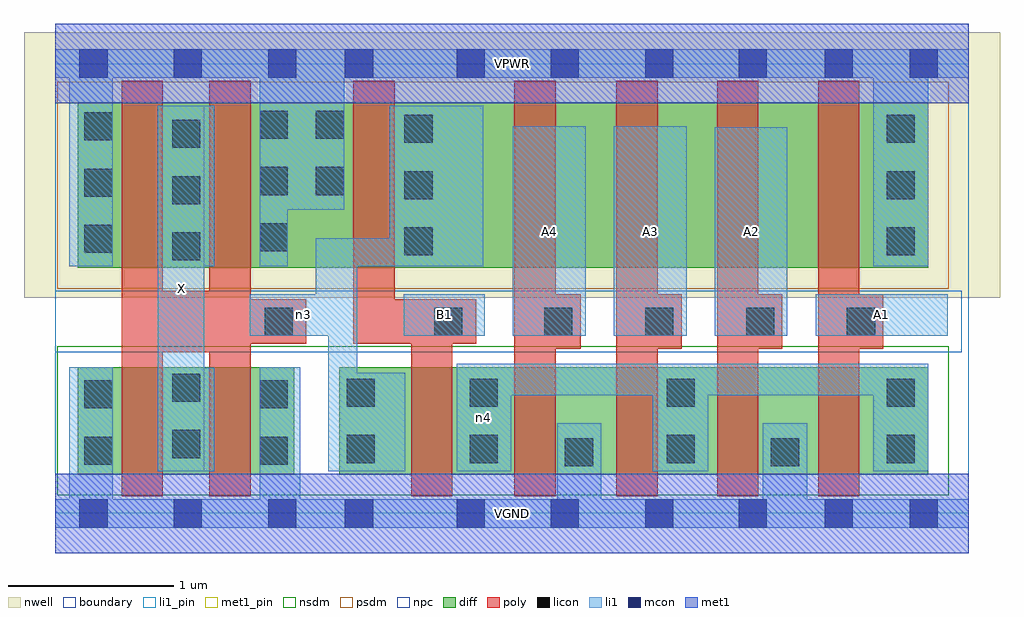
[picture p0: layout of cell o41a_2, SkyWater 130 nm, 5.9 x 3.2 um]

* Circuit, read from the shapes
.subckt o41a_2 A1 A2 A3 A4 B1 VGND VPWR X n3 n4
XM1 X n3 VGND VSUBS sky130_fd_pr__nfet_01v8 w=0.65 l=0.25 m=2
XM2 n4 B1 n3 VSUBS sky130_fd_pr__nfet_01v8 w=0.65 l=0.25
XM3 VGND A4 n4 VSUBS sky130_fd_pr__nfet_01v8 w=0.65 l=0.25
XM4 n4 A3 VGND VSUBS sky130_fd_pr__nfet_01v8 w=0.65 l=0.25
XM5 VGND A2 n4 VSUBS sky130_fd_pr__nfet_01v8 w=0.65 l=0.25
XM6 n4 A1 VGND VSUBS sky130_fd_pr__nfet_01v8 w=0.65 l=0.25
XM7 X n3 VPWR n1 sky130_fd_pr__pfet_01v8 w=1 l=0.25 m=2
XM8 n3 B1 VPWR n1 sky130_fd_pr__pfet_01v8 w=1 l=0.25
XM9 n2 A4 n3 n1 sky130_fd_pr__pfet_01v8 w=1 l=0.25
XM10 n5 A3 n2 n1 sky130_fd_pr__pfet_01v8 w=1 l=0.25
XM11 n6 A2 n5 n1 sky130_fd_pr__pfet_01v8 w=1 l=0.25
XM12 VPWR A1 n6 n1 sky130_fd_pr__pfet_01v8 w=1 l=0.25
.ends

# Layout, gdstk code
import gdstk
lib = gdstk.Library(unit=1e-6, precision=1e-09)
def R(c, l, rs):  # rectangles x0, y0, x1, y1
    for r in rs: c.add(gdstk.rectangle(r[:2], r[2:], *l))
def A(c, l, x, y, w, h, nx, ny, dx, dy):  # array of equal rectangles
    R(c, l, [(x+i*dx, y+j*dy, x+i*dx+w, y+j*dy+h) for i in range(nx) for j in range(ny)])
nwell = (64, 20)
diff = (65, 20)
poly = (66, 20)
licon = (66, 44)
li1_pin = (67, 16)
li1 = (67, 20)
mcon = (67, 44)
met1_pin = (68, 16)
met1 = (68, 20)
nsdm = (93, 44)
psdm = (94, 20)
npc = (95, 20)
boundary = (235, 4)

o41a_2 = lib.new_cell('o41a_2')
R(o41a_2, nwell, [(-0.19,1.305,5.71,2.91), (0,1.305,5.52,2.91)])
R(o41a_2, diff, [(0.135,0.235,1.445,0.885), (1.715,0.235,5.275,0.885), (0.135,1.485,5.275,2.485)])
A(o41a_2, poly, 3.39, 0.105, 0.25, 2.51, 3, 1, 0.61, 0)
A(o41a_2, poly, 3.39, 0.995, 0.395, 0.33, 3, 1, 0.61, 0)
R(o41a_2, poly, [(0.4,0.105,0.65,2.615), (0.93,0.105,1.18,2.615), (2.15,0.105,2.4,1.295), (2.775,0.105,3.025,2.615), (0.4,0.975,1.18,1.345), (2.775,0.995,3.175,1.325), (0.4,1.025,1.515,1.295), (1.8,1.025,2.05,2.615), (1.8,1.025,2.545,1.295)])
A(o41a_2, licon, 2.955, 1.075, 0.17, 0.17, 4, 1, 0.61, 0)
A(o41a_2, licon, 0.705, 1.53, 0.17, 0.17, 1, 3, 0, 0.34)
A(o41a_2, licon, 2.11, 1.56, 0.17, 0.17, 1, 3, 0, 0.34)
A(o41a_2, licon, 5.025, 1.56, 0.17, 0.17, 1, 3, 0, 0.34)
A(o41a_2, licon, 0.175, 1.575, 0.17, 0.17, 1, 3, 0, 0.34)
A(o41a_2, licon, 1.235, 1.585, 0.17, 0.17, 1, 3, 0, 0.34)
R(o41a_2, licon, [(3.08,0.285,3.25,0.455), (4.325,0.285,4.495,0.455), (0.175,0.295,0.345,0.465), (1.235,0.295,1.405,0.465), (1.76,0.305,1.93,0.475), (2.505,0.305,2.675,0.475), (3.695,0.305,3.865,0.475), (5.025,0.305,5.195,0.475), (0.705,0.335,0.875,0.505), (0.175,0.635,0.345,0.805), (1.235,0.635,1.405,0.805), (1.76,0.645,1.93,0.815), (2.505,0.645,2.675,0.815), (3.695,0.645,3.865,0.815), (5.025,0.645,5.195,0.815), (0.705,0.675,0.875,0.845), (1.265,1.075,1.435,1.245), (2.29,1.075,2.46,1.245), (1.575,1.925,1.745,2.095), (1.575,2.265,1.745,2.435)])
R(o41a_2, li1_pin, [(0.62,0.255,0.9,2.465), (2.105,1.075,2.595,1.325), (2.765,1.075,3.205,2.34), (3.375,1.075,3.815,2.34), (3.985,1.075,4.425,2.335), (4.595,1.075,5.395,1.325)])
R(o41a_2, li1, [(0,-0.085,5.52,0.085), (0.085,-0.085,0.345,0.885), (1.235,-0.085,1.48,0.885), (3.035,-0.085,3.3,0.545), (4.275,-0.085,4.545,0.545), (0.62,0.255,0.9,2.465), (0.62,0.255,0.96,0.88), (1.65,0.255,1.825,1.665), (1.65,0.255,2.115,0.85), (2.425,0.255,2.755,0.905), (3.61,0.255,3.945,0.905), (4.945,0.255,5.275,0.905), (2.425,0.715,5.275,0.905), (1.175,1.075,1.825,1.325), (1.575,1.075,1.825,1.665), (2.105,1.075,2.595,1.325), (2.765,1.075,3.205,2.34), (3.375,1.075,3.815,2.34), (3.985,1.075,4.425,2.335), (4.595,1.075,5.395,1.325), (0.085,1.495,0.345,2.805), (0.62,1.495,0.96,2.465), (1.235,1.495,1.405,2.805), (1.575,1.495,2.585,1.665), (2.02,1.495,2.585,2.465), (4.945,1.495,5.275,2.805), (1.235,1.835,1.745,2.805), (0,2.635,5.52,2.805)])
A(o41a_2, mcon, 0.145, -0.085, 0.17, 0.17, 3, 2, 0.57, 2.72)
A(o41a_2, mcon, 2.425, -0.085, 0.17, 0.17, 3, 2, 0.57, 2.72)
R(o41a_2, mcon, [(1.75,-0.085,1.92,0.085), (4.13,-0.085,4.3,0.085), (4.65,-0.085,4.82,0.085), (5.165,-0.085,5.335,0.085), (1.75,2.635,1.92,2.805), (4.13,2.635,4.3,2.805), (4.65,2.635,4.82,2.805), (5.165,2.635,5.335,2.805)])
R(o41a_2, met1_pin, [(0,-0.24,5.52,0.24), (0,2.48,5.52,2.96)])
R(o41a_2, met1, [(0,-0.24,5.52,0.24), (0,2.48,5.52,2.96)])
R(o41a_2, nsdm, [(0.01,0.11,5.4,1.01)])
R(o41a_2, psdm, [(0.01,1.36,5.4,2.61)])
R(o41a_2, npc, [(0,0.975,5.48,1.345)])
R(o41a_2, boundary, [(0,0,5.52,2.72)])
o41a_2.add(gdstk.Label('A1', (4.995,1.2), layer=67, texttype=5))
o41a_2.add(gdstk.Label('A2', (4.205,1.705), layer=67, texttype=5))
o41a_2.add(gdstk.Label('A3', (3.595,1.707), layer=67, texttype=5))
o41a_2.add(gdstk.Label('A4', (2.985,1.707), layer=67, texttype=5))
o41a_2.add(gdstk.Label('B1', (2.35,1.2), layer=67, texttype=5))
o41a_2.add(gdstk.Label('X', (0.76,1.36), layer=67, texttype=5))
o41a_2.add(gdstk.Label('n4', (2.59,0.58), layer=67, texttype=5))
o41a_2.add(gdstk.Label('n3', (1.5,1.2), layer=67, texttype=5))
o41a_2.add(gdstk.Label('VPWR', (2.76,2.72), layer=68, texttype=5))
o41a_2.add(gdstk.Label('VGND', (2.76,0), layer=68, texttype=5))
o41a_2.add(gdstk.Label('A1', (4.995,1.2), layer=67, texttype=16))
o41a_2.add(gdstk.Label('A2', (4.205,1.705), layer=67, texttype=16))
o41a_2.add(gdstk.Label('A3', (3.595,1.707), layer=67, texttype=16))
o41a_2.add(gdstk.Label('A4', (2.985,1.707), layer=67, texttype=16))
o41a_2.add(gdstk.Label('B1', (2.35,1.2), layer=67, texttype=16))
o41a_2.add(gdstk.Label('X', (0.76,1.36), layer=67, texttype=16))
o41a_2.add(gdstk.Label('VPWR', (2.76,2.72), layer=68, texttype=16))
o41a_2.add(gdstk.Label('VGND', (2.76,0), layer=68, texttype=16))

lib.write_gds('o41a_2.gds')
